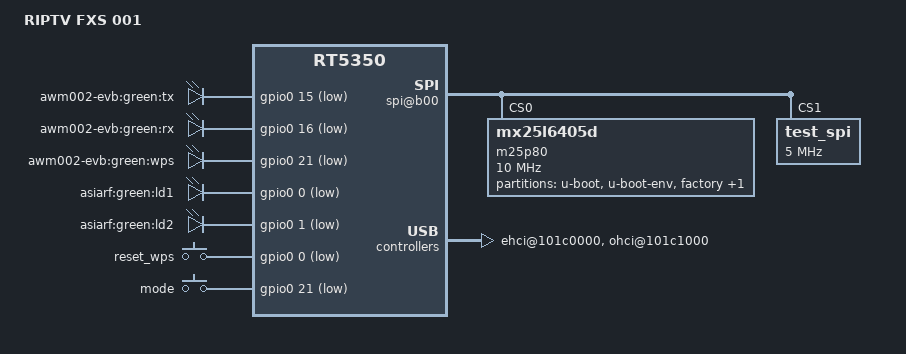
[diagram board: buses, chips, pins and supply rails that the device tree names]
/dts-v1/;

/include/ "rt5350.dtsi"

/ {
	model = "RIPTV FXS 001";
	compatible = "RIPTV_FXS_001", "AWM002", "ralink,rt5350-soc";

	palmbus@10000000 {
		spi@b00 {
			status = "okay";
			num-cs = <2>;
			m25p80@0 {
				compatible = "mx25l6405d";
				linux,modalias = "m25p80", "mx25l6405d";

				#address-cells = <1>;
				#size-cells = <1>;
				reg = <0 0>;
				spi-max-frequency = <10000000>;

				partition@0 {
					label = "u-boot";
					reg = <0x0 0x30000>;
					read-only;
				};

				partition@30000 {
					label = "u-boot-env";
					reg = <0x30000 0x10000>;
					read-only;
				};

				factory: partition@40000 {
					label = "factory";
					reg = <0x40000 0x10000>;
					read-only;
				};

				partition@50000 {
					label = "firmware";
					reg = <0x50000 0x1fb0000>;
				};
			};
			test_spi@1 {
				compatible = "test_spi";
				linux,modalias = "test_spi";
				reg = <1 0>;
				spi-max-frequency = <5000000>;
			};
		};
	};
	
	pinctrl {
		state_default: pinctrl0 {
			gpio {
				ralink,group = "i2c", "jtag", "uartf";
				ralink,function = "gpio";
			};
		};
		spi_pins: spi {
			spi_cs1 {
				ralink,group = "spi_cs1";
				ralink,function = "spi_cs1";
			};
		};
	};

	gpio-leds {
		compatible = "gpio-leds";
		tx {
			label = "awm002-evb:green:tx";
			gpios = <&gpio0 15 1>;
		};
		rx {
			label = "awm002-evb:green:rx";
			gpios = <&gpio0 16 1>;
		};
		wps {
			label = "awm002-evb:green:wps";
			gpios = <&gpio0 21 1>;
		};
		ld1 {
			label = "asiarf:green:ld1";
			gpios = <&gpio0 0 1>;
		};
		ld2 {
			label = "asiarf:green:ld2";
			gpios = <&gpio0 1 1>;
		};
	};

	gpio-keys-polled {
		compatible = "gpio-keys-polled";
		#address-cells = <1>;
		#size-cells = <0>;
		poll-interval = <20>;
		reset_wps {
			label = "reset_wps";
			gpios = <&gpio0 0 1>;
			linux,code = <0x198>;
		};
		mode {
			label = "mode";
			gpios = <&gpio0 21 1>;
			linux,code = <0x32>;
		};
	};

	esw@10110000 {
		ralink,portmap = <0x3f>;
	};

	ehci@101c0000 {
		status = "okay";
	};

	ohci@101c1000 {
		status = "okay";
	};
};
